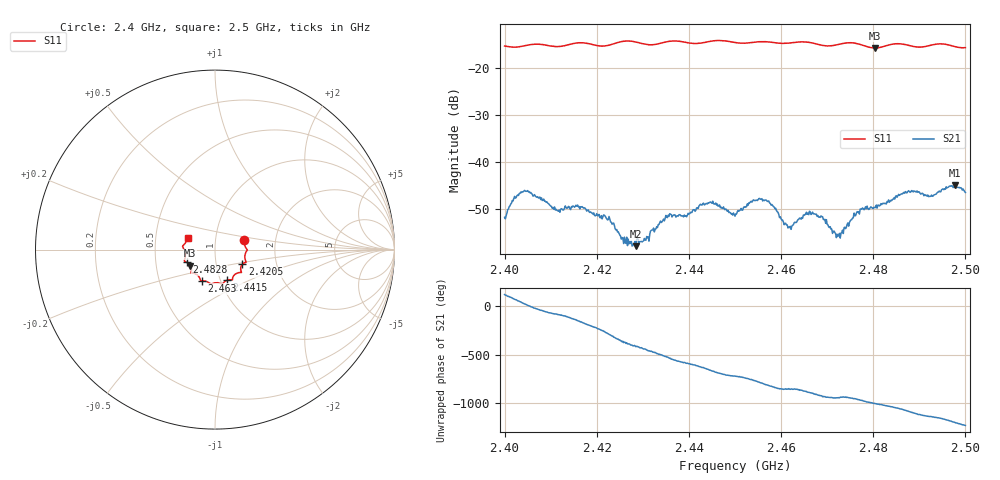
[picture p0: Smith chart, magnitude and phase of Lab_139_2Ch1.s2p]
# Hz S RI R 50
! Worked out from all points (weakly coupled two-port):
!   601 points, 2.4 GHz to 2.5 GHz, reference 50 ohm
!   highest |S21| = -45.05 dB at 2.4977 GHz (marker M1); lowest = -58.0 dB at 2.4285 GHz (marker M2)
!   lowest |S11| = -15.7 dB at 2.4803 GHz (marker M3), VSWR 1.39, Z = 37.4 - j6.85 ohm
!   |S11| at or under -10 dB: start of sweep to end of sweep
!   S12 and S22 are empty: the file has one direction only
!   S11 on the Smith chart (normalised r, x): 2.4 GHz: 1.38, +0.15; 2.4205 GHz: 1.34, -0.23; 2.4415 GHz: 1.07, -0.38; 2.463 GHz: 0.82, -0.29; 2.4828 GHz: 0.72, -0.10; 2.5 GHz: 0.73, +0.10
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2.4e9  0.1639 0.052  -0.00144 0.00211  0 0  0 0
2.4045e9  0.1737 0.00659  0.00442 0.002  0 0  0 0
2.4115e9  0.1667 -0.0312  0.000348 -0.00299  0 0  0 0
2.416667e9  0.1731 -0.0699  -0.00311 -0.00108  0 0  0 0
2.4205e9  0.152 -0.0819  -0.00151 0.00229  0 0  0 0
2.425833e9  0.1474 -0.1254  0.00129 -0.000372  0 0  0 0
2.4285e9  0.1413 -0.1273  0.000663 -0.00107  0 0  0 0
2.433333e9  0.1003 -0.1513  -0.00148 -0.00153  0 0  0 0
2.4415e9  0.0658 -0.1708  -0.000791 0.00293  0 0  0 0
2.444667e9  0.0441 -0.1883  0.00207 0.0031  0 0  0 0
2.45e9  0.0241 -0.1861  0.00262 -0.000142  0 0  0 0
2.455667e9  -0.0199 -0.1907  0.000984 -0.00386  0 0  0 0
2.461667e9  -0.0621 -0.1741  -0.00142 -0.00141  0 0  0 0
2.463e9  -0.0721 -0.1739  -0.00171 -0.00148  0 0  0 0
2.466667e9  -0.0821 -0.167  -0.0028 0.000131  0 0  0 0
2.472333e9  -0.1217 -0.1305  -0.00105 0.00122  0 0  0 0
2.476833e9  -0.1323 -0.1237  -0.00099 0.00276  0 0  0 0
2.480333e9  -0.1376 -0.0892  0.00109 0.00306  0 0  0 0
2.482833e9  -0.1587 -0.0703  0.00239 0.0026  0 0  0 0
2.483333e9  -0.1626 -0.0683  0.00291 0.00262  0 0  0 0
2.497667e9  -0.1661 0.0353  -0.00326 -0.00454  0 0  0 0
2.5e9  -0.1526 0.0642  -0.00437 -0.00172  0 0  0 0
